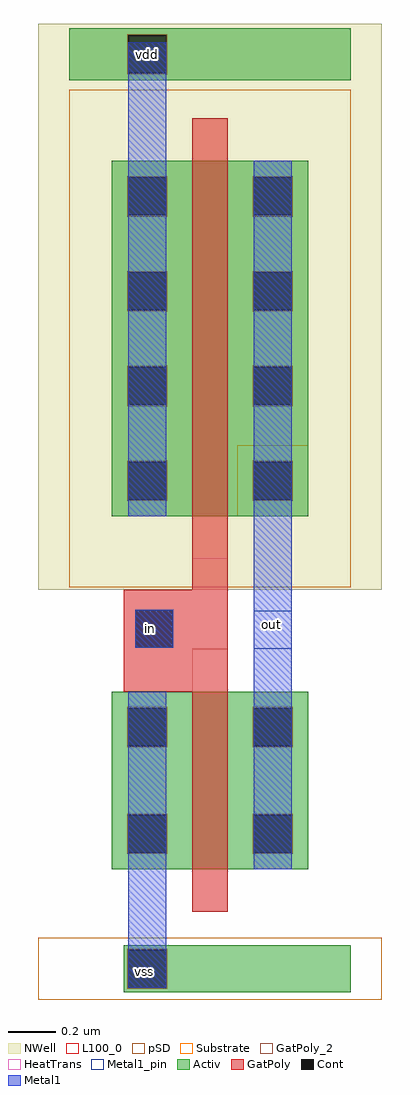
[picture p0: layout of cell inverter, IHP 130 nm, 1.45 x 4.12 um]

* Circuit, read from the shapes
.subckt inverter in out vdd vss
XM1 out in vss vss sg13_lv_nmos w=0.75u l=0.15u
XM2 out in vdd vdd sg13_lv_pmos w=1.5u l=0.15u
.ends

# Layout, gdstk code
import gdstk
lib = gdstk.Library(unit=1e-6, precision=5e-09)
def R(c, l, rs):  # rectangles x0, y0, x1, y1
    for r in rs: c.add(gdstk.rectangle(r[:2], r[2:], *l))
def A(c, l, x, y, w, h, nx, ny, dx, dy):  # array of equal rectangles
    R(c, l, [(x+i*dx, y+j*dy, x+i*dx+w, y+j*dy+h) for i in range(nx) for j in range(ny)])
Activ = (1, 0)
GatPoly = (5, 0)
GatPoly_2 = (5, 2)
Cont = (6, 0)
Metal1 = (8, 0)
Metal1_pin = (8, 2)
pSD = (14, 0)
NWell = (31, 0)
Substrate = (40, 0)
HeatTrans = (51, 0)
L100_0 = (100, 0)

nmos = lib.new_cell('nmos')
R(nmos, Activ, [(0,0,0.3,0.3), (0,0,0.83,0.75), (0.53,0,0.83,0.3)])
R(nmos, GatPoly, [(0.34,-0.18,0.49,0.93)])
R(nmos, GatPoly_2, [(0.34,-0.18,0.49,0.93)])
R(nmos, Cont, [(0.07,0.07,0.23,0.23), (0.6,0.07,0.76,0.23), (0.07,0.52,0.23,0.68), (0.6,0.52,0.76,0.68)])
R(nmos, Metal1, [(0.07,0,0.23,0.75), (0.6,0,0.76,0.75)])
R(nmos, Metal1_pin, [(0.07,0,0.23,0.75), (0.6,0,0.76,0.75)])
R(nmos, HeatTrans, [(0.34,-0.18,0.49,0.93)])
nmos.add(gdstk.Label('nmos', (0.415,0.375), layer=63, texttype=0))
nmos.add(gdstk.Label('nmos', (0.415,0.375), layer=51, texttype=0))

pmos = lib.new_cell('pmos')
R(pmos, Activ, [(0,0,0.3,0.3), (0,0,0.83,1.5), (0.53,0,0.83,0.3)])
R(pmos, GatPoly, [(0.34,-0.18,0.49,1.68), (0.34,-0.18,0.49,1.68)])
A(pmos, Cont, 0.07, 0.07, 0.16, 0.16, 1, 4, 0, 0.4)
A(pmos, Cont, 0.6, 0.07, 0.16, 0.16, 1, 4, 0, 0.4)
R(pmos, Metal1, [(0.07,0,0.23,1.5), (0.07,0,0.23,1.5), (0.6,0,0.76,1.5), (0.6,0,0.76,1.5)])
R(pmos, pSD, [(-0.18,-0.3,1.01,1.8)])
R(pmos, NWell, [(-0.31,-0.31,1.14,1.81)])
R(pmos, Substrate, [(0.53,0,0.83,0.3)])
R(pmos, HeatTrans, [(0.34,-0.18,0.49,1.68)])
pmos.add(gdstk.Label('pmos', (0.415,0.75), layer=63, texttype=0))
pmos.add(gdstk.Label('pmos', (0.415,0.75), layer=51, texttype=0))

inverter = lib.new_cell('inverter')
R(inverter, Activ, [(-0.565,-1.645,0.395,-1.445), (-0.795,2.205,0.395,2.425)])
R(inverter, GatPoly, [(-0.565,-0.375,-0.275,0.055), (-0.275,-0.195,-0.125,0.185)])
R(inverter, GatPoly_2, [(-0.515,-0.19,-0.355,-0.03)])
R(inverter, Cont, [(-0.545,-1.625,-0.385,-1.465), (-0.545,-1.625,-0.385,-1.465), (-0.515,-0.19,-0.355,-0.03), (-0.545,2.235,-0.385,2.395)])
R(inverter, Metal1, [(-0.545,-1.625,-0.385,-0.845), (-0.015,-0.375,0.145,0.365), (-0.515,-0.19,-0.355,-0.03), (-0.545,1.865,-0.385,2.365)])
R(inverter, Metal1_pin, [(-0.015,-0.57,0.145,-0.435), (-0.015,-0.195,0.145,-0.035), (-0.545,2.235,-0.385,2.395)])
R(inverter, pSD, [(-0.925,-1.675,0.525,-1.415)])
R(inverter, NWell, [(-0.925,2.175,0.525,2.445)])
R(inverter, L100_0, [(-0.55,-1.63,-0.38,-1.46), (-0.545,-1.63,-0.38,-1.46), (-0.55,-1.06,-0.38,-0.89), (-0.55,-1.06,-0.38,-0.89), (-0.02,-1.06,0.15,-0.89), (-0.02,-1.06,0.15,-0.89), (-0.55,-0.61,-0.38,-0.44), (-0.55,-0.61,-0.38,-0.44), (-0.02,-0.61,0.15,-0.44), (-0.02,-0.61,0.15,-0.44), (-0.55,0.43,-0.38,0.6), (-0.55,0.43,-0.38,0.6), (-0.02,0.43,0.15,0.6), (-0.02,0.43,0.15,0.6), (-0.55,0.83,-0.38,1), (-0.55,0.83,-0.38,1), (-0.02,0.83,0.15,1), (-0.02,0.83,0.15,1), (-0.55,1.23,-0.38,1.4), (-0.55,1.23,-0.38,1.4), (-0.02,1.23,0.15,1.4), (-0.02,1.23,0.15,1.4), (-0.55,1.63,-0.38,1.8), (-0.55,1.63,-0.38,1.8), (-0.02,1.63,0.15,1.8), (-0.02,1.63,0.15,1.8), (-0.55,2.23,-0.38,2.4), (-0.55,2.23,-0.38,2.4)])
inverter.add(gdstk.Reference(nmos, (-0.615,-1.125)))
inverter.add(gdstk.Reference(pmos, (-0.615,0.365)))
inverter.add(gdstk.Label('vdd', (-0.465,2.315), layer=8, texttype=2))
inverter.add(gdstk.Label('vss', (-0.475,-1.555), layer=8, texttype=2))
inverter.add(gdstk.Label('out', (0.06,-0.09), layer=8, texttype=2))
inverter.add(gdstk.Label('in', (-0.45,-0.11), layer=5, texttype=2))

lib.write_gds('inverter.gds')
